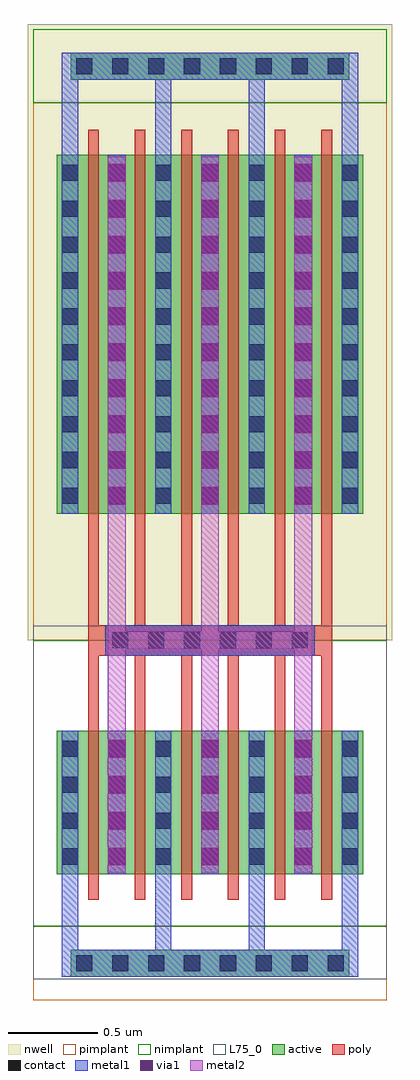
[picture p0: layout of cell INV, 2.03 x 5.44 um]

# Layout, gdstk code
import gdstk
lib = gdstk.Library(unit=1e-6, precision=1e-09)
def R(c, l, rs):  # rectangles x0, y0, x1, y1
    for r in rs: c.add(gdstk.rectangle(r[:2], r[2:], *l))
def A(c, l, x, y, w, h, nx, ny, dx, dy):  # array of equal rectangles
    R(c, l, [(x+i*dx, y+j*dy, x+i*dx+w, y+j*dy+h) for i in range(nx) for j in range(ny)])
nwell = (3, 0)
active = (6, 0)
poly = (17, 0)
pimplant = (25, 0)
nimplant = (26, 0)
contact = (30, 0)
metal1 = (31, 0)
metal2 = (32, 0)
via1 = (51, 0)
L75_0 = (75, 0)

pmosininv = lib.new_cell('PMOSInINV')
R(pmosininv, active, [(-0.855,-1,0.855,1)])
A(pmosininv, poly, -0.68, -1.14, 0.06, 2.28, 6, 1, 0.26, 0)
R(pmosininv, pimplant, [(-0.985,-1.29,0.985,1.29)])
A(pmosininv, contact, -0.825, -0.945, 0.09, 0.09, 7, 10, 0.26, 0.2)
A(pmosininv, metal1, -0.825, -1, 0.09, 2, 7, 1, 0.26, 0)

nmosininv = lib.new_cell('NMOSInINV')
R(nmosininv, active, [(-0.855,-0.4,0.855,0.4)])
A(nmosininv, poly, -0.68, -0.54, 0.06, 1.08, 6, 1, 0.26, 0)
R(nmosininv, nimplant, [(-0.985,-0.69,0.985,0.69)])
A(nmosininv, contact, -0.825, -0.345, 0.09, 0.09, 7, 4, 0.26, 0.2)
A(nmosininv, metal1, -0.825, -0.4, 0.09, 0.8, 7, 1, 0.26, 0)
R(nmosininv, L75_0, [(-0.985,-0.985,0.985,0.985)])

m2_m1_cdns_572756105840 = lib.new_cell('M2_M1_CDNS_572756105840')
R(m2_m1_cdns_572756105840, metal1, [(-0.05,-0.39,0.05,0.39)])
R(m2_m1_cdns_572756105840, metal2, [(-0.05,-0.39,0.05,0.39)])
A(m2_m1_cdns_572756105840, via1, -0.05, -0.35, 0.1, 0.1, 1, 4, 0, 0.2)

m1_nod_cdns_572756105841 = lib.new_cell('M1_NOD_CDNS_572756105841')
R(m1_nod_cdns_572756105841, active, [(-0.775,-0.075,0.775,0.075)])
R(m1_nod_cdns_572756105841, nimplant, [(-0.905,-0.205,0.905,0.205)])
A(m1_nod_cdns_572756105841, contact, -0.745, -0.045, 0.09, 0.09, 8, 1, 0.2, 0)
R(m1_nod_cdns_572756105841, metal1, [(-0.775,-0.075,0.775,0.075)])

m2_m1_cdns_572756105842 = lib.new_cell('M2_M1_CDNS_572756105842')
R(m2_m1_cdns_572756105842, metal1, [(-0.05,-0.99,0.05,0.99)])
R(m2_m1_cdns_572756105842, metal2, [(-0.05,-0.99,0.05,0.99)])
A(m2_m1_cdns_572756105842, via1, -0.05, -0.95, 0.1, 0.1, 1, 10, 0, 0.2)

m1_po_cdns_572756105843 = lib.new_cell('M1_PO_CDNS_572756105843')
R(m1_po_cdns_572756105843, poly, [(-0.585,-0.085,0.585,0.085)])
A(m1_po_cdns_572756105843, contact, -0.545, -0.045, 0.09, 0.09, 6, 1, 0.2, 0)
R(m1_po_cdns_572756105843, metal1, [(-0.585,-0.085,0.585,0.085)])

m1_pod_cdns_572756105844 = lib.new_cell('M1_POD_CDNS_572756105844')
R(m1_pod_cdns_572756105844, active, [(-0.775,-0.075,0.775,0.075)])
R(m1_pod_cdns_572756105844, pimplant, [(-0.905,-0.205,0.905,0.205)])
A(m1_pod_cdns_572756105844, contact, -0.745, -0.045, 0.09, 0.09, 8, 1, 0.2, 0)
R(m1_pod_cdns_572756105844, metal1, [(-0.775,-0.075,0.775,0.075)])

inv = lib.new_cell('INV')
R(inv, nwell, [(-1.015,1.8,1.015,5.235)])
R(inv, poly, [(-0.65,1.715,0.65,1.885)])
R(inv, pimplant, [(-0.985,-0.205,0.985,0.205), (-0.985,1.8,0.985,4.795)])
R(inv, nimplant, [(-0.985,0.205,0.985,1.8), (-0.985,4.795,0.985,5.205)])
A(inv, metal1, -0.57, 0.495, 0.1, 0.8, 3, 1, 0.52, 0)
A(inv, metal1, -0.57, 2.505, 0.1, 2, 3, 1, 0.52, 0)
inv.add(gdstk.FlexPath([(0.78,3.505),(0.78,5.075)], 0.09, ends="flush", simple_path=True, layer=31, datatype=0))  # metal1
inv.add(gdstk.FlexPath([(0.26,3.505),(0.26,5.075)], 0.09, ends="flush", simple_path=True, layer=31, datatype=0))  # metal1
inv.add(gdstk.FlexPath([(-0.26,3.505),(-0.26,5.075)], 0.09, ends="flush", simple_path=True, layer=31, datatype=0))  # metal1
inv.add(gdstk.FlexPath([(-0.78,3.505),(-0.78,5.075)], 0.09, ends="flush", simple_path=True, layer=31, datatype=0))  # metal1
inv.add(gdstk.FlexPath([(0.78,0.895),(0.78,-0.075)], 0.09, ends="flush", simple_path=True, layer=31, datatype=0))  # metal1
inv.add(gdstk.FlexPath([(0.26,0.895),(0.26,-0.075)], 0.09, ends="flush", simple_path=True, layer=31, datatype=0))  # metal1
inv.add(gdstk.FlexPath([(-0.26,0.895),(-0.26,-0.075)], 0.09, ends="flush", simple_path=True, layer=31, datatype=0))  # metal1
inv.add(gdstk.FlexPath([(-0.78,0.895),(-0.78,-0.075)], 0.09, ends="flush", simple_path=True, layer=31, datatype=0))  # metal1
inv.add(gdstk.FlexPath([(0.52,3.505),(0.52,0.895)], 0.1, ends="flush", simple_path=True, layer=32, datatype=0))  # metal2
inv.add(gdstk.FlexPath([(0,3.505),(0,0.895)], 0.1, ends="flush", simple_path=True, layer=32, datatype=0))  # metal2
inv.add(gdstk.FlexPath([(-0.52,3.505),(-0.52,0.895)], 0.1, ends="flush", simple_path=True, layer=32, datatype=0))  # metal2
inv.add(gdstk.FlexPath([(-0.52,1.8),(0.52,1.8)], 0.1, ends="flush", simple_path=True, layer=32, datatype=0))  # metal2
inv.add(gdstk.FlexPath([(0.65,0.895),(0.65,3.505)], 0.06, ends="flush", simple_path=True, layer=17, datatype=0))  # poly
inv.add(gdstk.FlexPath([(0.39,0.895),(0.39,3.505)], 0.06, ends="flush", simple_path=True, layer=17, datatype=0))  # poly
inv.add(gdstk.FlexPath([(0.13,0.895),(0.13,3.505)], 0.06, ends="flush", simple_path=True, layer=17, datatype=0))  # poly
inv.add(gdstk.FlexPath([(-0.13,0.895),(-0.13,3.505)], 0.06, ends="flush", simple_path=True, layer=17, datatype=0))  # poly
inv.add(gdstk.FlexPath([(-0.39,0.895),(-0.39,3.505)], 0.06, ends="flush", simple_path=True, layer=17, datatype=0))  # poly
inv.add(gdstk.FlexPath([(-0.65,0.895),(-0.65,3.505)], 0.06, ends="flush", simple_path=True, layer=17, datatype=0))  # poly
inv.add(gdstk.Reference(pmosininv, (0,3.505)))
inv.add(gdstk.Reference(nmosininv, (0,0.895)))
inv.add(gdstk.Reference(m2_m1_cdns_572756105840, (0.52,0.895)))
inv.add(gdstk.Reference(m2_m1_cdns_572756105840, (0,0.895)))
inv.add(gdstk.Reference(m2_m1_cdns_572756105840, (-0.52,0.895)))
inv.add(gdstk.Reference(m1_nod_cdns_572756105841, (0,5)))
inv.add(gdstk.Reference(m2_m1_cdns_572756105842, (0.52,3.505)))
inv.add(gdstk.Reference(m2_m1_cdns_572756105842, (0,3.505)))
inv.add(gdstk.Reference(m2_m1_cdns_572756105842, (-0.52,3.505)))
inv.add(gdstk.Reference(m1_po_cdns_572756105843, (0,1.8)))
inv.add(gdstk.Reference(m1_pod_cdns_572756105844, (0,0)))

lib.write_gds('INV.gds')
